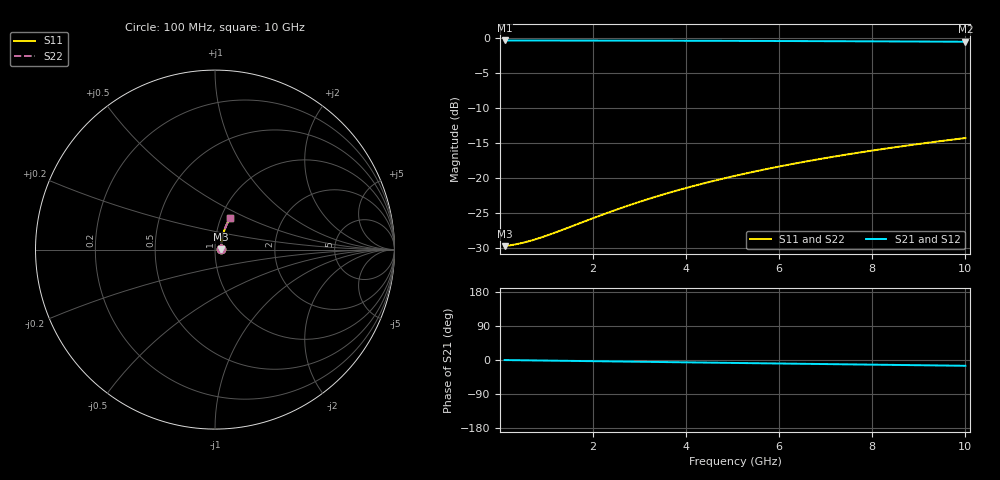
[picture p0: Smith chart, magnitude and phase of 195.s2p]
# Hz S RI R 50.00
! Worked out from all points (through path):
!   100 points, 100 MHz to 10 GHz, reference 50 ohm
!   highest |S21| = -0.29 dB at 100 MHz (marker M1); lowest = -0.5 dB at 10 GHz (marker M2)
!   group delay of S21, straight-line fit = 4.25 ps
!   lowest |S11| = -29.7 dB at 100 MHz (marker M3), VSWR 1.07, Z = 53.4 + j0.2 ohm
!   |S11| at or under -10 dB: start of sweep to end of sweep
!   |S22| runs from -29.7 to -14.2 dB; largest |S21 - S12| = 0
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1e8  0.0327 0.00187  0.9673 -0.00261  0.9673 -0.00261  0.0327 0.00187
4e8  0.0332 0.00748  0.9668 -0.0104  0.9668 -0.0104  0.0332 0.00748
6e8  0.0335 0.0112  0.9665 -0.0157  0.9665 -0.0157  0.0335 0.0112
8e8  0.0338 0.0149  0.9662 -0.0209  0.9662 -0.0209  0.0338 0.0149
1e9  0.0341 0.0187  0.9658 -0.0261  0.9658 -0.0261  0.0341 0.0187
1.2e9  0.0345 0.0224  0.9655 -0.0313  0.9655 -0.0313  0.0345 0.0224
1.8e9  0.0356 0.0335  0.9643 -0.0469  0.9643 -0.0469  0.0356 0.0335
2.2e9  0.0366 0.0409  0.9633 -0.0573  0.9633 -0.0573  0.0366 0.0409
2.6e9  0.0377 0.0483  0.9621 -0.0676  0.9621 -0.0676  0.0377 0.0483
3e9  0.0389 0.0556  0.9608 -0.0779  0.9608 -0.0779  0.0389 0.0556
3.4e9  0.0403 0.0629  0.9594 -0.0882  0.9594 -0.0882  0.0403 0.0629
3.8e9  0.0418 0.0702  0.9577 -0.0984  0.9577 -0.0984  0.0418 0.0702
4.2e9  0.0435 0.0774  0.956 -0.1086  0.956 -0.1086  0.0435 0.0774
4.6e9  0.0453 0.0846  0.954 -0.1187  0.954 -0.1187  0.0453 0.0846
5.1e9  0.0478 0.0935  0.9514 -0.1314  0.9514 -0.1314  0.0478 0.0935
5.5e9  0.05 0.1005  0.9491 -0.1414  0.9491 -0.1414  0.05 0.1005
5.9e9  0.0523 0.1075  0.9467 -0.1514  0.9467 -0.1514  0.0523 0.1075
6.7e9  0.0573 0.1213  0.9414 -0.1711  0.9414 -0.1711  0.0573 0.1213
7.5e9  0.0629 0.1348  0.9355 -0.1906  0.9355 -0.1906  0.0629 0.1348
8.4e9  0.0698 0.1497  0.9282 -0.2121  0.9282 -0.2121  0.0698 0.1497
9.2e9  0.0765 0.1625  0.921 -0.2309  0.921 -0.2309  0.0765 0.1625
1e10  0.0837 0.175  0.9134 -0.2494  0.9134 -0.2494  0.0837 0.175
